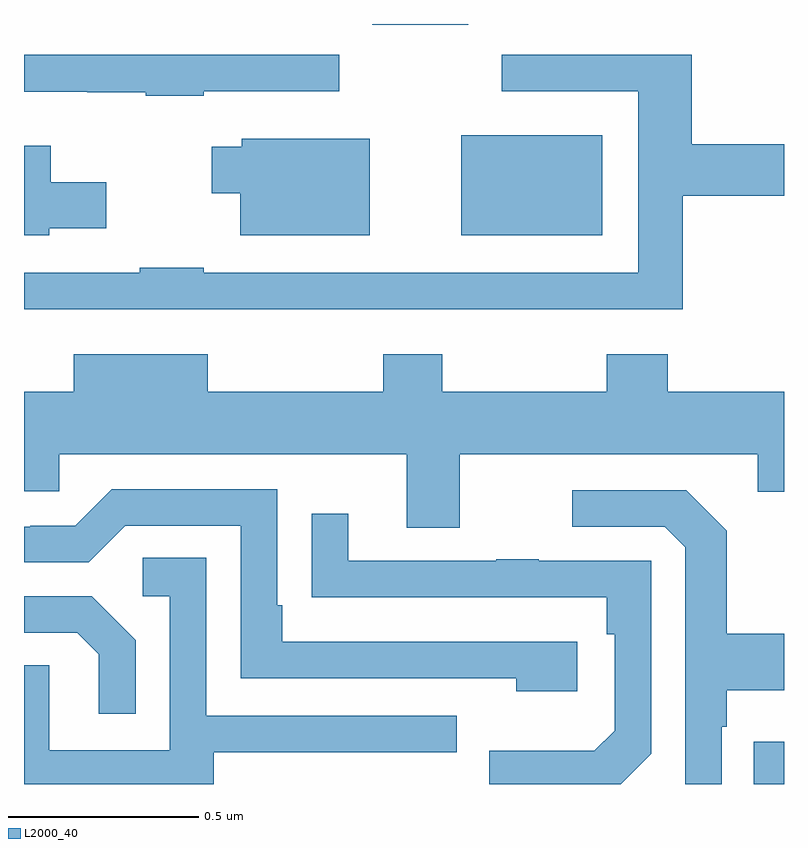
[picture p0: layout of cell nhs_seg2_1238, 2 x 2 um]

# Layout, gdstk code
import gdstk
lib = gdstk.Library(unit=1e-6, precision=1e-09)
def R(c, l, rs):  # rectangles x0, y0, x1, y1
    for r in rs: c.add(gdstk.rectangle(r[:2], r[2:], *l))
def P(c, l, *ps):  # polygons
    for p in ps: c.add(gdstk.Polygon(p, *l))
L2000_40 = (2000, 40)

nhs_seg2_1238 = lib.new_cell('nhs_seg2_1238')
R(nhs_seg2_1238, L2000_40, [(127.921,614.8,128,614.911), (127.151,616.244,127.522,616.507), (126.916,616.798,127.169,616.8)])
P(nhs_seg2_1238, L2000_40, [(126.473,616.623),(126.829,616.623),(126.829,616.719),(126,616.719),(126,616.622),(126.166,616.622),(126.166,616.621),(126.32,616.621),(126.32,616.611),(126.473,616.611)],
  [(126.035,616.05),(126.58,616.05),(126.58,616.049),(126.857,616.049),(126.857,616.05),(127.189,616.05),(127.189,616.049),(127.445,616.049),(127.445,616.05),(127.733,616.05),(127.733,616.348),(128,616.348),(128,616.484),(127.757,616.484),(127.757,616.719),(127.257,616.719),(127.257,616.623),(127.617,616.623),(127.617,616.146),(126.473,616.146),(126.473,616.159),(126.304,616.159),(126.304,616.146),(126,616.146),(126,616.049),(126.035,616.049)],
  [(126.91,616.498),(126.573,616.498),(126.573,616.477),(126.494,616.477),(126.494,616.355),(126.569,616.355),(126.569,616.244),(126.91,616.244)],
  [(126.066,616.262),(126.217,616.262),(126.217,616.384),(126.07,616.384),(126.07,616.48),(126,616.48),(126,616.244),(126.066,616.244)],
  [(127.147,615.668),(127.931,615.668),(127.931,615.569),(128,615.569),(128,615.832),(127.694,615.832),(127.694,615.931),(127.534,615.931),(127.534,615.832),(127.101,615.832),(127.101,615.931),(126.946,615.931),(126.946,615.832),(126.484,615.832),(126.484,615.931),(126.131,615.931),(126.131,615.832),(126,615.832),(126,615.57),(126.093,615.57),(126.093,615.668),(127.007,615.668),(127.007,615.474),(127.147,615.474)],
  [(127.456,615.174),(126.679,615.174),(126.679,615.271),(126.666,615.271),(126.666,615.576),(126.231,615.576),(126.135,615.48),(126.017,615.48),(126.017,615.477),(126,615.477),(126,615.384),(126.171,615.384),(126.267,615.48),(126.57,615.48),(126.57,615.078),(127.295,615.078),(127.295,615.044),(127.456,615.044)],
  [(127.836,614.951),(127.849,614.951),(127.849,615.047),(128,615.047),(128,615.195),(127.849,615.195),(127.849,615.467),(127.743,615.573),(127.443,615.573),(127.443,615.477),(127.686,615.477),(127.74,615.423),(127.74,614.8),(127.836,614.8)],
  [(127.65,614.88),(127.65,615.387),(127.355,615.387),(127.355,615.392),(127.243,615.392),(127.243,615.387),(126.853,615.387),(126.853,615.511),(126.757,615.511),(126.757,615.292),(126.859,615.292),(126.859,615.291),(127.534,615.291),(127.534,615.194),(127.554,615.194),(127.554,614.94),(127.501,614.887),(127.224,614.887),(127.224,614.8),(127.57,614.8)],
  [(126.499,614.883),(127.139,614.883),(127.139,614.979),(126.48,614.979),(126.48,615.395),(126.312,615.395),(126.312,615.294),(126.384,615.294),(126.384,614.889),(126.066,614.889),(126.066,615.113),(126,615.113),(126,614.8),(126.499,614.8)],
  [(126.294,615.178),(126.178,615.294),(126,615.294),(126,615.198),(126.14,615.198),(126.197,615.141),(126.197,614.985),(126.294,614.985)])

lib.write_gds('nhs_seg2_1238.gds')
